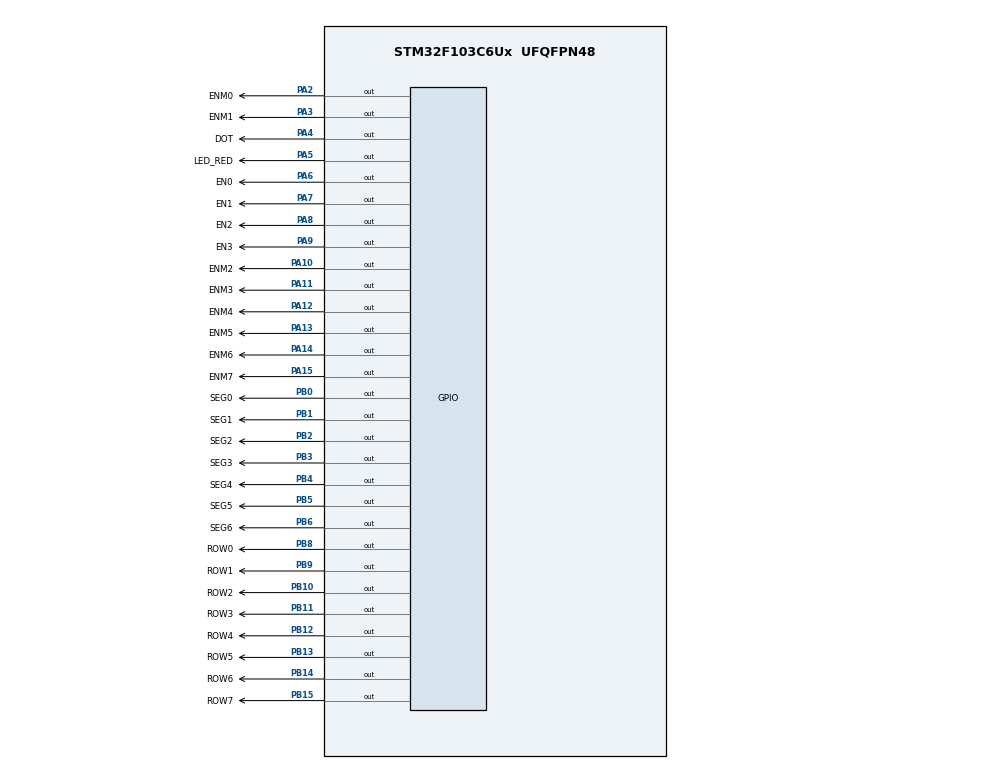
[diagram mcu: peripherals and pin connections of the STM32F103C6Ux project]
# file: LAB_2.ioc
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Mcu.Family=STM32F1
Mcu.Name=STM32F103C6Ux
Mcu.Package=UFQFPN48
NVIC.PriorityGroup=NVIC_PRIORITYGROUP_4
NVIC.TIM2_IRQn=true\:0\:0\:false\:false\:true\:true\:true
PA10.GPIO_Label=ENM2
PA10.Signal=GPIO_Output
PA11.GPIO_Label=ENM3
PA11.Signal=GPIO_Output
PA12.GPIO_Label=ENM4
PA12.Signal=GPIO_Output
PA13.GPIO_Label=ENM5
PA13.Signal=GPIO_Output
PA14.GPIO_Label=ENM6
PA14.Signal=GPIO_Output
PA15.GPIO_Label=ENM7
PA15.Signal=GPIO_Output
PA2.GPIO_Label=ENM0
PA2.Signal=GPIO_Output
PA3.GPIO_Label=ENM1
PA3.Signal=GPIO_Output
PA4.GPIO_Label=DOT
PA4.Signal=GPIO_Output
PA5.GPIO_Label=LED_RED
PA5.Signal=GPIO_Output
PA6.GPIO_Label=EN0
PA6.Signal=GPIO_Output
PA7.GPIO_Label=EN1
PA7.Signal=GPIO_Output
PA8.GPIO_Label=EN2
PA8.Signal=GPIO_Output
PA9.GPIO_Label=EN3
PA9.Signal=GPIO_Output
PB0.GPIO_Label=SEG0
PB0.Signal=GPIO_Output
PB1.GPIO_Label=SEG1
PB1.Signal=GPIO_Output
PB10.GPIO_Label=ROW2
PB10.Signal=GPIO_Output
PB11.GPIO_Label=ROW3
PB11.Signal=GPIO_Output
PB12.GPIO_Label=ROW4
PB12.Signal=GPIO_Output
PB13.GPIO_Label=ROW5
PB13.Signal=GPIO_Output
PB14.GPIO_Label=ROW6
PB14.Signal=GPIO_Output
PB15.GPIO_Label=ROW7
PB15.Signal=GPIO_Output
PB2.GPIO_Label=SEG2
PB2.Signal=GPIO_Output
PB3.GPIO_Label=SEG3
PB3.Signal=GPIO_Output
PB4.GPIO_Label=SEG4
PB4.Signal=GPIO_Output
PB5.GPIO_Label=SEG5
PB5.Signal=GPIO_Output
PB6.GPIO_Label=SEG6
PB6.Signal=GPIO_Output
PB8.GPIO_Label=ROW0
PB8.Signal=GPIO_Output
PB9.GPIO_Label=ROW1
PB9.Signal=GPIO_Output
ProjectManager.HeapSize=0x200
ProjectManager.StackSize=0x400
ProjectManager.TargetToolchain=STM32CubeIDE
RCC.APB1Freq_Value=8000000
RCC.APB2Freq_Value=8000000
TIM2.Period=9
TIM2.Prescaler=7999
VP_SYS_VS_ND.Mode=No_Debug
VP_TIM2_VS_ClockSourceINT.Mode=Internal
board=custom

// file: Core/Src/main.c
/* USER CODE BEGIN Header */
/**
  ******************************************************************************
  * @file           : main.c
  * @brief          : Main program body
  ******************************************************************************
  * @attention
  *
  * <h2><center>&copy; Copyright (c) 2023 STMicroelectronics.
  * All rights reserved.</center></h2>
  *
  * This software component is licensed by ST under BSD 3-Clause license,
  * the "License"; You may not use this file except in compliance with the
  * License. You may obtain a copy of the License at:
  *                        opensource.org/licenses/BSD-3-Clause
  *
  ******************************************************************************
  */
/* USER CODE END Header */
#include "main.h"

/* USER CODE BEGIN Includes */
#include "software_timer.h"
/* USER CODE END Includes */

TIM_HandleTypeDef htim2;

void SystemClock_Config(void);
static void MX_GPIO_Init(void);
static void MX_TIM2_Init(void);

/* USER CODE BEGIN 0 */
void display7SEG(int num)
 {
 switch(num)
 {
 case 0:
 	HAL_GPIO_WritePin(GPIOB, GPIO_PIN_0 |GPIO_PIN_1 |GPIO_PIN_2 |GPIO_PIN_3 |GPIO_PIN_4 |GPIO_PIN_5, 0);
 	HAL_GPIO_WritePin(GPIOB, GPIO_PIN_6,1);
 	break;
 case 1:
 	HAL_GPIO_WritePin(GPIOB, GPIO_PIN_0  |GPIO_PIN_3 |GPIO_PIN_4 |GPIO_PIN_5 |GPIO_PIN_6, 1);
 	HAL_GPIO_WritePin(GPIOB, GPIO_PIN_1 | GPIO_PIN_2,0);
     break;
 case 2:
 	HAL_GPIO_WritePin(GPIOB, GPIO_PIN_0 |GPIO_PIN_1 |GPIO_PIN_6 |GPIO_PIN_3 |GPIO_PIN_4 , 0);
     HAL_GPIO_WritePin(GPIOB, GPIO_PIN_2 |GPIO_PIN_5,1);
 	break;
 case 3:
 	HAL_GPIO_WritePin(GPIOB, GPIO_PIN_0 |GPIO_PIN_1 |GPIO_PIN_6 |GPIO_PIN_3 |GPIO_PIN_2 , 0);
 	 HAL_GPIO_WritePin(GPIOB, GPIO_PIN_4 |GPIO_PIN_5,1);
      break;
 case 4:
 	HAL_GPIO_WritePin(GPIOB, GPIO_PIN_5 |GPIO_PIN_1 |GPIO_PIN_6 |GPIO_PIN_2 , 0);
 	HAL_GPIO_WritePin(GPIOB, GPIO_PIN_0 |GPIO_PIN_3 |GPIO_PIN_4,1);
 	break;
 case 5:
 	HAL_GPIO_WritePin(GPIOB, GPIO_PIN_0 |GPIO_PIN_2 |GPIO_PIN_3 |GPIO_PIN_5| GPIO_PIN_6, 0);
     HAL_GPIO_WritePin(GPIOB, GPIO_PIN_1 |GPIO_PIN_4 ,1);
 	break;
 case 6:
 	HAL_GPIO_WritePin(GPIOB, GPIO_PIN_0 |GPIO_PIN_6 |GPIO_PIN_2 |GPIO_PIN_3 |GPIO_PIN_4 |GPIO_PIN_5, 0);
 	HAL_GPIO_WritePin(GPIOB, GPIO_PIN_1,1);
 	break;
 case 7:
 	HAL_GPIO_WritePin(GPIOB,GPIO_PIN_3 |GPIO_PIN_4 |GPIO_PIN_5 |GPIO_PIN_6, 1);
 		HAL_GPIO_WritePin(GPIOB, GPIO_PIN_0  | GPIO_PIN_1 | GPIO_PIN_2,0);
 	    break;
 case 8:
 	HAL_GPIO_WritePin(GPIOB, GPIO_PIN_0 |GPIO_PIN_1 |GPIO_PIN_2 |GPIO_PIN_3 |GPIO_PIN_4 |GPIO_PIN_5|GPIO_PIN_6, 0);
 		break;
 case 9:
 	HAL_GPIO_WritePin(GPIOB, GPIO_PIN_0 |GPIO_PIN_1 |GPIO_PIN_2 |GPIO_PIN_3 |GPIO_PIN_6 |GPIO_PIN_5, 0);
 	HAL_GPIO_WritePin(GPIOB, GPIO_PIN_4,1);
 	break;
 default:
	break;
 }
 }
const int MAX_LED = 4;
 int index_led = 0;
 int led_buffer [4] = {1, 2, 3, 4};
 void update7SEG ( int index ){
 switch ( index ){
	 case 0:
	 // Display the first 7 SEG with led_buffer [0]
		 display7SEG(led_buffer [index]);
		 HAL_GPIO_WritePin(EN0_GPIO_Port, EN0_Pin,0);
		 HAL_GPIO_WritePin(EN1_GPIO_Port, EN1_Pin,1);
		 HAL_GPIO_WritePin(EN2_GPIO_Port, EN2_Pin,1);
		 HAL_GPIO_WritePin(EN3_GPIO_Port, EN3_Pin,1);
		  break ;
	 case 1:
	 // Display the second 7 SEG with led_buffer [1]
		 display7SEG(led_buffer [index]);
		 HAL_GPIO_WritePin(EN0_GPIO_Port, EN0_Pin,1);
		 HAL_GPIO_WritePin(EN1_GPIO_Port, EN1_Pin,0);
		 HAL_GPIO_WritePin(EN2_GPIO_Port, EN2_Pin,1);
		 HAL_GPIO_WritePin(EN3_GPIO_Port, EN3_Pin,1);
		 break ;
	 case 2:
	 // Display the third 7 SEG with led_buffer [2]
		 display7SEG(led_buffer [index]);
		 HAL_GPIO_WritePin(EN0_GPIO_Port, EN0_Pin,1);
		 HAL_GPIO_WritePin(EN1_GPIO_Port, EN1_Pin,1);
		 HAL_GPIO_WritePin(EN2_GPIO_Port, EN2_Pin,0);
		 HAL_GPIO_WritePin(EN3_GPIO_Port, EN3_Pin,1);
		 break ;
	 case 3:
	 // Display the forth 7 SEG with led_buffer [3]d;
		 display7SEG(led_buffer [index]);
		 HAL_GPIO_WritePin(EN0_GPIO_Port, EN0_Pin,1);
		 HAL_GPIO_WritePin(EN1_GPIO_Port, EN1_Pin,1);
		 HAL_GPIO_WritePin(EN2_GPIO_Port, EN2_Pin,1);
		 HAL_GPIO_WritePin(EN3_GPIO_Port, EN3_Pin,0);
		 break ;
	 default :
	 break ;
 	 }
 }

 void updateClockBuffer (int minute, int hour)
 {
	 if(hour <= 9)
	 {
		 led_buffer[0] = 0;
		 led_buffer[1] = hour;
	 }
	 else
	 {
		 int temp_1 = hour /10;
		 led_buffer[0] = temp_1;
		 temp_1 = hour %10;
		 led_buffer[1] = temp_1;
	 }

	 if(minute <= 9)
	 	 {
	 		 led_buffer[2] = 0;
	 		 led_buffer[3] = minute;
	 	 }
	 else
	 	 {
	 		 int temp_2 = minute /10;
	 		 led_buffer[2] = temp_2;
	 		 temp_2 = minute % 10;
	 		 led_buffer[3] = temp_2;
	 	 }
 }

/* USER CODE END 0 */

int main(void)
{

  /* MCU Configuration--------------------------------------------------------*/

  /* Reset of all peripherals, Initializes the Flash interface and the Systick. */
  HAL_Init();

  /* Configure the system clock */
  SystemClock_Config();

  /* Initialize all configured peripherals */
  MX_GPIO_Init();
  MX_TIM2_Init();
  /* USER CODE BEGIN 2 */
  HAL_TIM_Base_Start_IT (& htim2 );
  /* USER CODE END 2 */
  int hour = 15, minute = 17, second = 50;
  /* Infinite loop */
  /* USER CODE BEGIN WHILE */
  setTimer1(500);
  setTimer2(1000);
  while (1)
  {
	  if(timer1_flag == 1)
	  {
	   switch (index_led){
		 case 0:
			 display7SEG(led_buffer [index_led]);
			 HAL_GPIO_WritePin(EN0_GPIO_Port, EN0_Pin,0);
			 HAL_GPIO_WritePin(EN1_GPIO_Port, EN1_Pin,1);
			 HAL_GPIO_WritePin(EN2_GPIO_Port, EN2_Pin,1);
			 HAL_GPIO_WritePin(EN3_GPIO_Port, EN3_Pin,1);
			  break ;
		 case 1:
			 display7SEG(led_buffer [index_led]);
			 HAL_GPIO_WritePin(EN0_GPIO_Port, EN0_Pin,1);
			 HAL_GPIO_WritePin(EN1_GPIO_Port, EN1_Pin,0);
			 HAL_GPIO_WritePin(EN2_GPIO_Port, EN2_Pin,1);
			 HAL_GPIO_WritePin(EN3_GPIO_Port, EN3_Pin,1);
			 break ;
		 case 2:
			 display7SEG(led_buffer [index_led]);
			 HAL_GPIO_WritePin(EN0_GPIO_Port, EN0_Pin,1);
			 HAL_GPIO_WritePin(EN1_GPIO_Port, EN1_Pin,1);
			 HAL_GPIO_WritePin(EN2_GPIO_Port, EN2_Pin,0);
			 HAL_GPIO_WritePin(EN3_GPIO_Port, EN3_Pin,1);
			 break ;
		 case 3:
			 display7SEG(led_buffer [index_led]);
			 HAL_GPIO_WritePin(EN0_GPIO_Port, EN0_Pin,1);
			 HAL_GPIO_WritePin(EN1_GPIO_Port, EN1_Pin,1);
			 HAL_GPIO_WritePin(EN2_GPIO_Port, EN2_Pin,1);
			 HAL_GPIO_WritePin(EN3_GPIO_Port, EN3_Pin,0);
			 break ;
		 default :
			 break ;
		 }
		  index_led++;
		  if(index_led >= 4)
			  index_led = 0;
		  setTimer1(500);
	  }
	  if(timer2_flag == 1)
	  {
		  second ++;
		  if ( second >= 60) {
		  second = 0;
		   minute ++;
		  }
		  if( minute >= 60) {
		  minute = 0;
		  hour ++;
		  }
		  if( hour >=24){
		   hour = 0;
		   }

		  led_buffer[0] = hour/10;
		  led_buffer[1] = hour%10;
		  led_buffer[2] = minute/10;
	      led_buffer[3] = minute%10;
		  HAL_GPIO_TogglePin(DOT_GPIO_Port, DOT_Pin);
		  setTimer2(1000);
	  }
    /* USER CODE END WHILE */

  }
}

void SystemClock_Config(void)
{
  RCC_OscInitTypeDef RCC_OscInitStruct = {0};
  RCC_ClkInitTypeDef RCC_ClkInitStruct = {0};

  /** Initializes the RCC Oscillators according to the specified parameters
  * in the RCC_OscInitTypeDef structure.
  */
  RCC_OscInitStruct.OscillatorType = RCC_OSCILLATORTYPE_HSI;
  RCC_OscInitStruct.HSIState = RCC_HSI_ON;
  RCC_OscInitStruct.HSICalibrationValue = RCC_HSICALIBRATION_DEFAULT;
  RCC_OscInitStruct.PLL.PLLState = RCC_PLL_NONE;
  if (HAL_RCC_OscConfig(&RCC_OscInitStruct) != HAL_OK)
  {
    Error_Handler();
  }
  /** Initializes the CPU, AHB and APB buses clocks
  */
  RCC_ClkInitStruct.ClockType = RCC_CLOCKTYPE_HCLK|RCC_CLOCKTYPE_SYSCLK
                              |RCC_CLOCKTYPE_PCLK1|RCC_CLOCKTYPE_PCLK2;
  RCC_ClkInitStruct.SYSCLKSource = RCC_SYSCLKSOURCE_HSI;
  RCC_ClkInitStruct.AHBCLKDivider = RCC_SYSCLK_DIV1;
  RCC_ClkInitStruct.APB1CLKDivider = RCC_HCLK_DIV1;
  RCC_ClkInitStruct.APB2CLKDivider = RCC_HCLK_DIV1;

  if (HAL_RCC_ClockConfig(&RCC_ClkInitStruct, FLASH_LATENCY_0) != HAL_OK)
  {
    Error_Handler();
  }
}

static void MX_TIM2_Init(void)
{

  TIM_ClockConfigTypeDef sClockSourceConfig = {0};
  TIM_MasterConfigTypeDef sMasterConfig = {0};

  htim2.Instance = TIM2;
  htim2.Init.Prescaler = 7999;
  htim2.Init.CounterMode = TIM_COUNTERMODE_UP;
  htim2.Init.Period = 9;
  htim2.Init.ClockDivision = TIM_CLOCKDIVISION_DIV1;
  htim2.Init.AutoReloadPreload = TIM_AUTORELOAD_PRELOAD_DISABLE;
  if (HAL_TIM_Base_Init(&htim2) != HAL_OK)
  {
    Error_Handler();
  }
  sClockSourceConfig.ClockSource = TIM_CLOCKSOURCE_INTERNAL;
  if (HAL_TIM_ConfigClockSource(&htim2, &sClockSourceConfig) != HAL_OK)
  {
    Error_Handler();
  }
  sMasterConfig.MasterOutputTrigger = TIM_TRGO_RESET;
  sMasterConfig.MasterSlaveMode = TIM_MASTERSLAVEMODE_DISABLE;
  if (HAL_TIMEx_MasterConfigSynchronization(&htim2, &sMasterConfig) != HAL_OK)
  {
    Error_Handler();
  }

}

static void MX_GPIO_Init(void)
{
  GPIO_InitTypeDef GPIO_InitStruct = {0};

  /* GPIO Ports Clock Enable */
  __HAL_RCC_GPIOA_CLK_ENABLE();
  __HAL_RCC_GPIOB_CLK_ENABLE();

  /*Configure GPIO pin Output Level */
  HAL_GPIO_WritePin(GPIOA, DOT_Pin|LED_RED_Pin|EN0_Pin|EN1_Pin
                          |EN2_Pin|EN3_Pin, GPIO_PIN_RESET);

  /*Configure GPIO pin Output Level */
  HAL_GPIO_WritePin(GPIOB, SEG0_Pin|SEG1_Pin|SEG2_Pin|SEG3_Pin
                          |SEG4_Pin|SEG5_Pin|SEG6_Pin, GPIO_PIN_RESET);

  /*Configure GPIO pins : DOT_Pin LED_RED_Pin EN0_Pin EN1_Pin
                           EN2_Pin EN3_Pin */
  GPIO_InitStruct.Pin = DOT_Pin|LED_RED_Pin|EN0_Pin|EN1_Pin
                          |EN2_Pin|EN3_Pin;
  GPIO_InitStruct.Mode = GPIO_MODE_OUTPUT_PP;
  GPIO_InitStruct.Pull = GPIO_NOPULL;
  GPIO_InitStruct.Speed = GPIO_SPEED_FREQ_LOW;
  HAL_GPIO_Init(GPIOA, &GPIO_InitStruct);

  /*Configure GPIO pins : SEG0_Pin SEG1_Pin SEG2_Pin SEG3_Pin
                           SEG4_Pin SEG5_Pin SEG6_Pin */
  GPIO_InitStruct.Pin = SEG0_Pin|SEG1_Pin|SEG2_Pin|SEG3_Pin
                          |SEG4_Pin|SEG5_Pin|SEG6_Pin;
  GPIO_InitStruct.Mode = GPIO_MODE_OUTPUT_PP;
  GPIO_InitStruct.Pull = GPIO_NOPULL;
  GPIO_InitStruct.Speed = GPIO_SPEED_FREQ_LOW;
  HAL_GPIO_Init(GPIOB, &GPIO_InitStruct);

}

/* USER CODE BEGIN 4 */

void HAL_TIM_PeriodElapsedCallback ( TIM_HandleTypeDef * htim )
{
	timerRun();
}
/* USER CODE END 4 */

void Error_Handler(void)
{
  __disable_irq();
  while (1)
  {
  }
}

/************************ (C) COPYRIGHT STMicroelectronics *****END OF FILE****/
